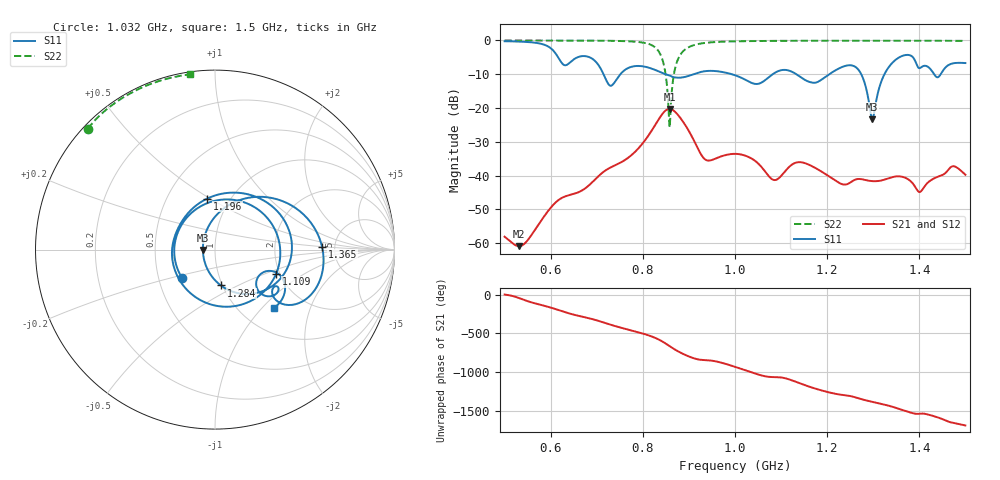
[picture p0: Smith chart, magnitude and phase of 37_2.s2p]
! TOUCHSTONE file generated by CST MICROWAVE STUDIO
! Date and time: Mon Nov 30 09:13:01 2020
! Project name: Scenario_1_Planar_Body_Tissue_Out_of_Line_v2.cst
! Parameters = {dy1=276.8; L_HA=400; Ltissue=700; MT=2.54; Rad_Dielectric=30; Rad_Lower=7.3; Rad_Upper=30; Wtissue=700; a_HA=580; a_WG=246; b_HA=500; b_WG=121; c_HA=0; c_WG=187; d_feed=85; dx1=346; h_feed=15; h_lower=18; h_upper=40; hfat=3; hgap=25; hmuscle=50; hskin=1.5}
! Header version: 2018
! Port assignment regex: !\s*Touchstone port\s*([0-9]+)\s*=\s*(CST MWS port|CST DS port)\s*([0-9]+|Zmin|Zmax)\s*\(\"(.*)\"\)(\s*mode\s*([0-9]+))?.*
! Touchstone port assignment:
! Touchstone port 1 = CST MWS port 1 ("")
! Touchstone port 2 = CST MWS port 2 ("")
# GHz S DB R 50
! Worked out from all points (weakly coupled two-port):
!   1003 points, 500 MHz to 1.5 GHz, reference 50 ohm
!   highest |S21| = -20.27 dB at 858 MHz (marker M1); lowest = -60.9 dB at 531 MHz (marker M2)
!   lowest |S11| = -23.4 dB at 1.298 GHz (marker M3), VSWR 1.14, Z = 43.7 - j0.194 ohm
!   |S11| at or under -10 dB: 849 MHz to 909.9 MHz (60.9 MHz wide, 6.92 % of centre); 992.9 MHz to 1.082 GHz (89.02 MHz wide, 8.58 % of centre); 1.133 GHz to 1.205 GHz (71.78 MHz wide, 6.14 % of centre)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
!   |S22| runs from -25.8 to 0.0 dB; largest |S21 - S12| = 1.7e-05
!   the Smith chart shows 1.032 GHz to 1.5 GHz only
!   S11 on the Smith chart (normalised r, x): 1.032 GHz: 0.66, -0.22; 1.109 GHz: 1.91, -0.60; 1.196 GHz: 0.78, +0.49; 1.284 GHz: 0.98, -0.41; 1.365 GHz: 3.94, +0.21; 1.5 GHz: 1.42, -1.17
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0.5  -0.24 -121.8  -58.13 1.3  -58.13 1.3  -0.01 151.2
0.531  -0.34 -135.9  -60.93 -43.3  -60.93 -43.3  -0.01 149.1
0.667  -4.67 155.9  -44.50 77.2  -44.50 77.2  -0.04 138.4
0.717  -10.71 35.0  -38.68 -4.1  -38.68 -4.1  -0.09 132.7
0.742  -11.73 -101.4  -36.84 -50.0  -36.84 -50.0  -0.14 129.0
0.773  -7.90 172.1  -34.23 -98.8  -34.23 -98.8  -0.28 122.5
0.834  -9.14 42.2  -23.46 141.4  -23.46 141.4  -3.17 83.8
0.858  -10.38 -20.7  -20.27 54.7  -20.27 54.7  -25.80 -45.7
0.888  -10.90 -114.9  -24.22 -47.9  -24.22 -47.9  -3.12 178.3
0.938  -9.06 87.0  -35.46 -126.6  -35.46 -126.6  -0.69 152.3
1  -10.30 -54.4  -33.59 147.3  -33.59 147.3  -0.27 140.4
1.032  -12.33 -139.1  -34.69 83.6  -34.69 83.6  -0.20 136.4
1.074  -10.83 76.6  -40.31 17.3  -40.31 17.3  -0.14 132.2
1.109  -8.73 -21.7  -38.70 -0.6  -38.70 -0.6  -0.12 129.0
1.167  -12.47 175.3  -37.24 -120.7  -37.24 -120.7  -0.10 124.3
1.196  -10.83 98.8  -39.54 -170.9  -39.54 -170.9  -0.09 122.0
1.249  -7.34 4.7  -42.18 130.8  -42.18 130.8  -0.09 118.0
1.284  -13.87 -80.6  -41.36 74.1  -41.36 74.1  -0.08 115.4
1.298  -23.41 -178.1  -41.67 54.7  -41.67 54.7  -0.08 114.3
1.334  -7.85 46.3  -40.81 4.2  -40.81 4.2  -0.09 111.6
1.365  -4.49 1.7  -40.45 -53.9  -40.45 -53.9  -0.09 109.2
1.5  -6.70 -44.4  -39.78 109.5  -39.78 109.5  -0.12 98.0
